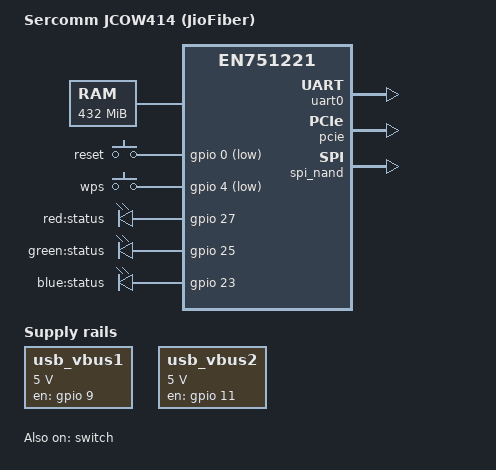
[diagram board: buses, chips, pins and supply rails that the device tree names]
// SPDX-License-Identifier: GPL-2.0-or-later OR MIT
/*
 * Device Tree Source for Sercomm JCOW414 (Reliance JioFiber Home Gateway)
 *
 * SoC: EcoNet EN7528HU (Dual-Core MIPS 1004Kc @ 900MHz, 4 VPEs)
 * RAM: 512 MB DDR3 (SK Hynix H5TQ4G63EFR)
 * Flash: 256 MB SPI-NAND (Micron MT29F2G01) + 1 MB SPI-NOR (Puya P25Q80L)
 * 2.4GHz Wi-Fi: MediaTek MT7603E (PCIe Bus 1, 14c3:7603)
 * 5GHz Wi-Fi: MediaTek MT7613E (PCIe Bus 2, 14c3:7663)
 * Ethernet: 4x Gigabit LAN Ports (Internal Switch ports 1-4)
 */

/dts-v1/;

#include "en7528.dtsi"

#include <dt-bindings/gpio/gpio.h>
#include <dt-bindings/input/input.h>

/ {
	model = "Sercomm JCOW414 (JioFiber)";
	compatible = "sercomm,jcow414", "econet,en7528", "econet,en751221";

	aliases {
		serial0 = &uart0;
		led-boot = &led_power_blue;
		led-failsafe = &led_power_red;
		led-running = &led_power_green;
		led-upgrade = &led_power_blue;
	};

	chosen {
		bootargs = "console=ttyS0,115200 earlycon";
		stdout-path = "serial0:115200n8";
	};

	memory@0 {
		device_type = "memory";
		reg = <0x00002000 0x1b000000>; /* 432 MB usable out of 512 MB */
	};

	keys {
		compatible = "gpio-keys";

		reset {
			label = "reset";
			gpios = <&gpio 0 GPIO_ACTIVE_LOW>;
			linux,code = <KEY_RESTART>;
		};

		wps {
			label = "wps";
			gpios = <&gpio 4 GPIO_ACTIVE_LOW>;
			linux,code = <KEY_WPS_BUTTON>;
		};
	};

	leds {
		compatible = "gpio-leds";

		led_power_red: red {
			label = "red:status";
			gpios = <&gpio 27 GPIO_ACTIVE_HIGH>;
		};

		led_power_green: green {
			label = "green:status";
			gpios = <&gpio 25 GPIO_ACTIVE_HIGH>;
		};

		led_power_blue: blue {
			label = "blue:status";
			gpios = <&gpio 23 GPIO_ACTIVE_HIGH>;
		};
	};

	usb_vbus1: regulator-usb-vbus1 {
		compatible = "regulator-fixed";
		regulator-name = "usb_vbus1";
		regulator-min-microvolt = <5000000>;
		regulator-max-microvolt = <5000000>;
		gpio = <&gpio 9 GPIO_ACTIVE_HIGH>;
		enable-active-high;
		regulator-always-on;
	};

	usb_vbus2: regulator-usb-vbus2 {
		compatible = "regulator-fixed";
		regulator-name = "usb_vbus2";
		regulator-min-microvolt = <5000000>;
		regulator-max-microvolt = <5000000>;
		gpio = <&gpio 11 GPIO_ACTIVE_HIGH>;
		enable-active-high;
		regulator-always-on;
	};
};

&uart0 {
	status = "okay";
};

&pcie {
	status = "okay";

	pcie@0,0 {
		status = "okay";

		/* MediaTek MT7603E 2.4GHz 802.11b/g/n */
		wifi@0,0 {
			reg = <0x0000 0 0 0 0>;
			mediatek,mtd-eeprom = <&romfile 0x2000>;
		};
	};

	pcie@1,0 {
		status = "okay";

		/* MediaTek MT7613E 5GHz 802.11a/n/ac */
		wifi@1,0 {
			reg = <0x0800 0 0 0 0>;
			mediatek,mtd-eeprom = <&romfile 0x8000>;
		};
	};
};

&spi_nand {
	status = "okay";

	partitions {
		compatible = "fixed-partitions";
		#address-cells = <1>;
		#size-cells = <1>;

		partition@0 {
			label = "bootloader";
			reg = <0x00000000 0x00040000>;
			read-only;
		};

		romfile: partition@40000 {
			label = "romfile";
			reg = <0x00040000 0x00040000>;
			read-only;
		};

		partition@80000 {
			label = "tclinux";
			reg = <0x00080000 0x02800000>; /* 40 MB Primary Bank */
		};

		partition@2880000 {
			label = "tclinux_slave";
			reg = <0x02880000 0x02800000>; /* 40 MB Backup Bank */
		};

		partition@5080000 {
			label = "opt0";
			reg = <0x05080000 0x00800000>;
		};

		partition@5880000 {
			label = "opt1";
			reg = <0x05880000 0x00800000>;
		};

		partition@6080000 {
			label = "ubifs_config";
			reg = <0x06080000 0x01a00000>;
		};

		partition@7a80000 {
			label = "config";
			reg = <0x07a80000 0x00200000>;
		};

		partition@7c80000 {
			label = "ubifs_data";
			reg = <0x07c80000 0x05a00000>;
		};

		partition@ddc0000 {
			label = "reservearea";
			reg = <0x0ddc0000 0x00240000>;
			read-only;
		};
	};
};

&switch {
	status = "okay";

	ports {
		#address-cells = <1>;
		#size-cells = <0>;

		port@1 {
			reg = <1>;
			label = "lan1";
		};

		port@2 {
			reg = <2>;
			label = "lan2";
		};

		port@3 {
			reg = <3>;
			label = "lan3";
		};

		port@4 {
			reg = <4>;
			label = "lan4";
		};
	};
};
